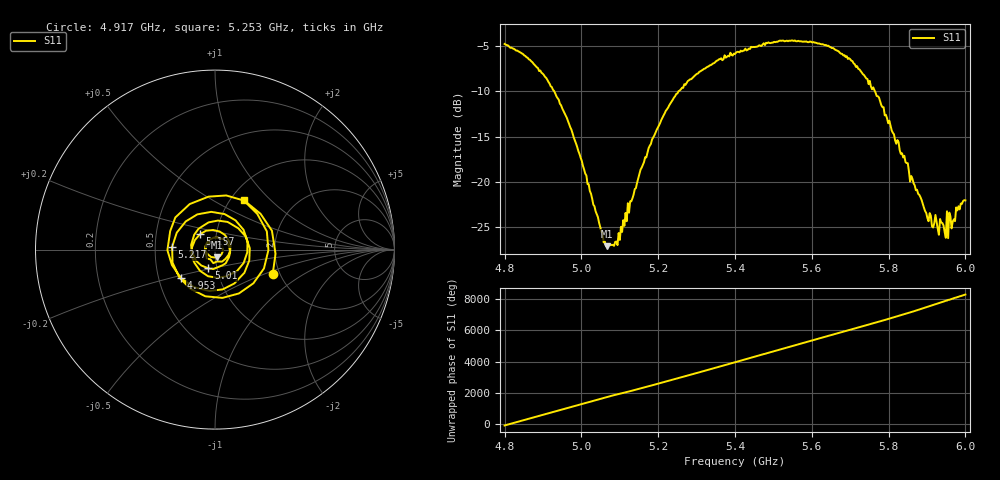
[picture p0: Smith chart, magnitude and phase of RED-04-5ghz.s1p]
! NanoVNA-App
! Date: 2026-05-22 18:33:59
! Start: 4.8GHz Stop: 6GHz Points: 401
! S-Parameter data: F S11
# Hz S RI R 50
!  Frequency  S11_Real  S11_Imag
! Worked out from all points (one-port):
!   401 points, 4.8 GHz to 6 GHz, reference 50 ohm
!   lowest |S11| = -27.2 dB at 5.067 GHz (marker M1), VSWR 1.09, Z = 51 - j4.33 ohm
!   |S11| at or under -10 dB: 4.93 GHz to 5.253 GHz (323.1 MHz wide, 6.35 % of centre); 5.765 GHz to end of sweep
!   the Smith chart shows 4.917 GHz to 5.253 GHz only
!   S11 on the Smith chart (normalised r, x): 4.917 GHz: 1.83, -0.58; 4.953 GHz: 0.65, -0.22; 5.01 GHz: 0.91, -0.19; 5.157 GHz: 0.83, +0.14; 5.217 GHz: 0.61, +0.02; 5.253 GHz: 1.15, +0.70
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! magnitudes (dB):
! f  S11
! 4.8 GHz  -4.7
! 4.866 GHz  -6.5
! 4.917 GHz  -9.1
! 4.95 GHz  -11.9
! 4.953 GHz  -12.1
! 4.98 GHz  -15.1
! 5.01 GHz  -19.1
! 5.058 GHz  -26.7
! 5.067 GHz  -27.2
! 5.088 GHz  -26.7
! 5.1 GHz  -26.5
! 5.157 GHz  -18.4
! 5.217 GHz  -12.4
! 5.25 GHz  -10.2
! 5.253 GHz  -10.0
! 5.313 GHz  -7.7
! 5.4 GHz  -5.8
! 5.481 GHz  -4.6
! 5.55 GHz  -4.4
! 5.637 GHz  -4.8
! 5.7 GHz  -6.4
! 5.769 GHz  -10.5
! 5.85 GHz  -18.0
! 5.898 GHz  -23.5
! 5.925 GHz  -24.5
! 5.949 GHz  -26.2
! 5.982 GHz  -22.7
! 6 GHz  -22.1
